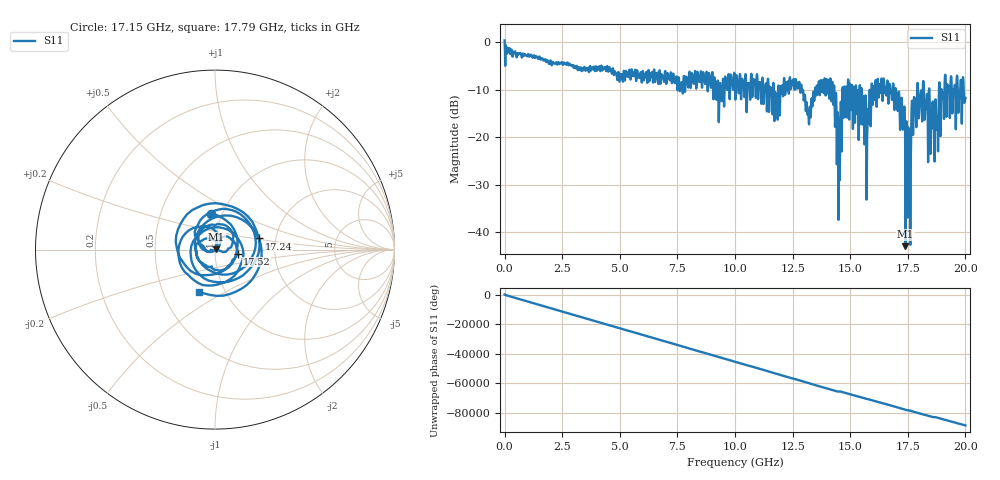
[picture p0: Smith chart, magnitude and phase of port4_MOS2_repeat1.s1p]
! MS46122B
! 2250307/22442219
! 7/24/2025 7:49:39 AM
! C:\USERS\SPARKY\DOCUMENTS\VNA_DATA\JULY24_2025\3K\PORT4_MOS2_REPEAT1.S1P
! CHANNEL.1
! TR.MEASUREMENT
! RAW.DATA
# GHZ S RI R 50.0
! FREQ.GHZ  S11RE  S11IM
!; PortSelection: Port_1
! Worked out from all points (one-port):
!   10001 points, 1 MHz to 20 GHz, reference 50 ohm
!   lowest |S11| = -42.9 dB at 17.4 GHz (marker M1), VSWR 1.01, Z = 50.7 + j0.0828 ohm
!   |S11| at or under -10 dB: 12.94 GHz to 13.47 GHz (525.7 MHz wide, 3.98 % of centre); 16.98 GHz to 17.9 GHz (922.3 MHz wide, 5.29 % of centre); 18.43 GHz to 18.85 GHz (418 MHz wide, 2.24 % of centre) (the widest 3 of 85)
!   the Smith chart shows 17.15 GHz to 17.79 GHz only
!   S11 on the Smith chart (normalised r, x): 17.15 GHz: 0.89, +0.37; 17.24 GHz: 1.63, +0.22; 17.52 GHz: 1.29, -0.06; 17.79 GHz: 0.76, -0.38
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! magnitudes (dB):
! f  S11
! 1 MHz  0.4
! 2.501 GHz  -4.3
! 5.001 GHz  -7.6
! 7.501 GHz  -9.8
! 9.363 GHz  -9.3
! 10 GHz  -9.3
! 11.78 GHz  -13.1
! 12.5 GHz  -9.0
! 13.21 GHz  -17.2
! 13.56 GHz  -9.1
! 14.14 GHz  -7.6
! 14.5 GHz  -20.6
! 14.75 GHz  -9.4
! 15 GHz  -9.1
! 15.5 GHz  -9.7
! 15.71 GHz  -28.0
! 15.92 GHz  -9.9
! 16.28 GHz  -8.9
! 17.15 GHz  -14.0
! 17.24 GHz  -11.9
! 17.4 GHz  -42.9
! 17.5 GHz  -21.1
! 17.52 GHz  -17.9
! 17.79 GHz  -12.0
! 18.11 GHz  -14.5
! 18.57 GHz  -12.9
! 19.19 GHz  -11.9
! 20 GHz  -11.8
